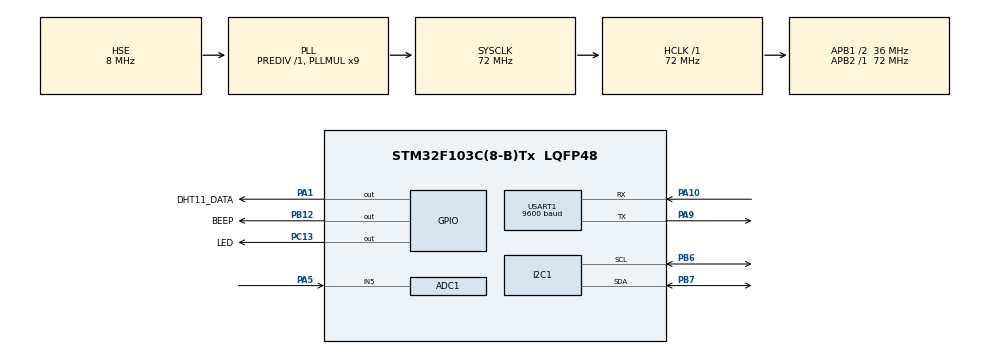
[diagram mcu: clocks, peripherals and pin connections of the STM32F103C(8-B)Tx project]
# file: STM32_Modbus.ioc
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ADC1.Channel-0\#ChannelRegularConversion=ADC_CHANNEL_5
ADC1.NbrOfConversionFlag=1
ADC1.Rank-0\#ChannelRegularConversion=1
ADC1.SamplingTime-0\#ChannelRegularConversion=ADC_SAMPLETIME_1CYCLE_5
ADC1.master=1
Dma.Request0=USART1_RX
Dma.Request1=USART1_TX
Dma.USART1_RX.0.Direction=DMA_PERIPH_TO_MEMORY
Dma.USART1_RX.0.Instance=DMA1_Channel5
Dma.USART1_RX.0.MemDataAlignment=DMA_MDATAALIGN_BYTE
Dma.USART1_RX.0.MemInc=DMA_MINC_ENABLE
Dma.USART1_RX.0.Mode=DMA_NORMAL
Dma.USART1_RX.0.PeriphDataAlignment=DMA_PDATAALIGN_BYTE
Dma.USART1_RX.0.PeriphInc=DMA_PINC_DISABLE
Dma.USART1_RX.0.Priority=DMA_PRIORITY_LOW
Dma.USART1_TX.1.Direction=DMA_MEMORY_TO_PERIPH
Dma.USART1_TX.1.Instance=DMA1_Channel4
Dma.USART1_TX.1.MemDataAlignment=DMA_MDATAALIGN_BYTE
Dma.USART1_TX.1.MemInc=DMA_MINC_ENABLE
Dma.USART1_TX.1.Mode=DMA_NORMAL
Dma.USART1_TX.1.PeriphDataAlignment=DMA_PDATAALIGN_BYTE
Dma.USART1_TX.1.PeriphInc=DMA_PINC_DISABLE
Dma.USART1_TX.1.Priority=DMA_PRIORITY_LOW
I2C1.I2C_Mode=I2C_Standard
Mcu.Family=STM32F1
Mcu.Name=STM32F103C(8-B)Tx
Mcu.Package=LQFP48
NVIC.DMA1_Channel4_IRQn=true\:0\:0\:false\:false\:true\:false\:true\:true
NVIC.DMA1_Channel5_IRQn=true\:0\:0\:false\:false\:true\:false\:true\:true
NVIC.PriorityGroup=NVIC_PRIORITYGROUP_4
NVIC.USART1_IRQn=true\:0\:0\:false\:false\:true\:true\:true\:true
PA1.GPIO_Label=DHT11_DATA
PA1.Signal=GPIO_Output
PA10.Mode=Asynchronous
PA10.Signal=USART1_RX
PA13.Mode=Serial_Wire
PA13.Signal=SYS_JTMS-SWDIO
PA14.Mode=Serial_Wire
PA14.Signal=SYS_JTCK-SWCLK
PA5.Signal=ADCx_IN5
PA9.Mode=Asynchronous
PA9.Signal=USART1_TX
PB12.GPIO_Label=BEEP
PB12.PinState=GPIO_PIN_SET
PB12.Signal=GPIO_Output
PB6.Mode=I2C
PB6.Signal=I2C1_SCL
PB7.Mode=I2C
PB7.Signal=I2C1_SDA
PC13-TAMPER-RTC.GPIO_Label=LED
PC13-TAMPER-RTC.PinState=GPIO_PIN_SET
PC13-TAMPER-RTC.Signal=GPIO_Output
PC14-OSC32_IN.Mode=LSE-External-Oscillator
PC14-OSC32_IN.Signal=RCC_OSC32_IN
PC15-OSC32_OUT.Mode=LSE-External-Oscillator
PC15-OSC32_OUT.Signal=RCC_OSC32_OUT
PD0-OSC_IN.Mode=HSE-External-Oscillator
PD0-OSC_IN.Signal=RCC_OSC_IN
PD1-OSC_OUT.Mode=HSE-External-Oscillator
PD1-OSC_OUT.Signal=RCC_OSC_OUT
ProjectManager.HeapSize=0x200
ProjectManager.StackSize=0x400
ProjectManager.TargetToolchain=MDK-ARM V5.32
RCC.ADCPresc=RCC_ADCPCLK2_DIV6
RCC.AHBFreq_Value=72000000
RCC.APB1CLKDivider=RCC_HCLK_DIV2
RCC.APB1Freq_Value=36000000
RCC.APB1TimFreq_Value=72000000
RCC.APB2Freq_Value=72000000
RCC.APB2TimFreq_Value=72000000
RCC.HCLKFreq_Value=72000000
RCC.PLLMUL=RCC_PLL_MUL9
RCC.PLLSourceVirtual=RCC_PLLSOURCE_HSE
RCC.SYSCLKFreq_VALUE=72000000
RCC.SYSCLKSource=RCC_SYSCLKSOURCE_PLLCLK
RCC.USBFreq_Value=72000000
SH.ADCx_IN5.0=ADC1_IN5,IN5
TIM3.Prescaler=71
USART1.BaudRate=9600
USART1.VirtualMode=VM_ASYNC
VP_TIM3_VS_ClockSourceINT.Mode=Internal
board=custom

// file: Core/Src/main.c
/* USER CODE BEGIN Header */
/**
  ******************************************************************************
  * @file           : main.c
  * @brief          : Main program body
  ******************************************************************************
  * @attention
  *
  * Copyright (c) 2026 STMicroelectronics.
  * All rights reserved.
  *
  * This software is licensed under terms that can be found in the LICENSE file
  * in the root directory of this software component.
  * If no LICENSE file comes with this software, it is provided AS-IS.
  *
  ******************************************************************************
  */
/* USER CODE END Header */
#include "main.h"
#include "adc.h"
#include "dma.h"
#include "i2c.h"
#include "tim.h"
#include "usart.h"
#include "gpio.h"

/* USER CODE BEGIN Includes */
#include "oled.h"
#include "font.h"
#include <stdio.h>
#include <string.h>
#include "dht11.h"
#include "modbus.h"
#include "CRC.h"
/* USER CODE END Includes */

/* USER CODE BEGIN PV */
volatile uint8_t Modbus_Frame_Flag = 0;
volatile uint16_t Modbus_RX_Length = 0;

DHT11_Data_TypeDef DHT11_Data;

uint16_t g_adc_value = 0;
float g_adc_voltage = 0.0f;

uint32_t g_last_sample_tick = 0;
uint32_t g_last_oled_tick = 0;
/* USER CODE END PV */

void SystemClock_Config(void);
/* USER CODE BEGIN PFP */
void Device_Data_Update(void);
void Device_Control_Update(void);
void Device_Alarm_Update(void);
void OLED_Display_Update(void);
/* USER CODE END PFP */

/* USER CODE BEGIN 0 */
void HAL_UARTEx_RxEventCallback(UART_HandleTypeDef *huart, uint16_t Size)
{
    if (huart->Instance == USART1)
    {
        if (Size > 0)
        {
            Modbus_RX_Length = Size;
            Modbus_Frame_Flag = 1;
        }
    }
}

void Device_Data_Update(void)
{
    HAL_ADC_Start(&hadc1);
    HAL_ADC_PollForConversion(&hadc1, HAL_MAX_DELAY);
    g_adc_value = HAL_ADC_GetValue(&hadc1);
    g_adc_voltage = (g_adc_value / 4095.0f) * 3.3f;

    Modbus_Register[REG_ADC_RAW] = g_adc_value;
    Modbus_Register[REG_ADC_VOLTAGE] = (uint16_t)(g_adc_voltage * 100);

    if (DHT11_Read_TempAndHumidity(&DHT11_Data) == 0)
    {
        Modbus_Register[REG_TEMP_VALUE] = (uint16_t)(DHT11_Data.temperature * 10);
        Modbus_Register[REG_HUMI_VALUE] = (uint16_t)(DHT11_Data.humidity * 10);
        Modbus_Register[REG_SENSOR_STATE] = 0;
    }
    else
    {
        Modbus_Register[REG_TEMP_VALUE] = 0;
        Modbus_Register[REG_HUMI_VALUE] = 0;
        Modbus_Register[REG_SENSOR_STATE] = 1;
    }
}

void Device_Control_Update(void)
{
    //LED
    if (Modbus_Register[REG_LED_CTRL])
        HAL_GPIO_WritePin(LED_GPIO_Port, LED_Pin, GPIO_PIN_RESET);
    else
        HAL_GPIO_WritePin(LED_GPIO_Port, LED_Pin, GPIO_PIN_SET);

    //BEEP
    if (Modbus_Register[REG_BEEP_CTRL])
        HAL_GPIO_WritePin(BEEP_GPIO_Port, BEEP_Pin, GPIO_PIN_RESET);
    else
        HAL_GPIO_WritePin(BEEP_GPIO_Port, BEEP_Pin, GPIO_PIN_SET);
}

void Device_Alarm_Update(void)
{
    Modbus_Register[REG_ALARM_FLAG] = 0;

    if (Modbus_Register[REG_TEMP_VALUE] > Modbus_Register[REG_TEMP_ALARM_HIGH])
        Modbus_Register[REG_ALARM_FLAG] |= 0x0001;

    if (Modbus_Register[REG_HUMI_VALUE] > Modbus_Register[REG_HUMI_ALARM_HIGH])
        Modbus_Register[REG_ALARM_FLAG] |= 0x0002;
}

void OLED_Display_Update(void)
{
    char buf[24];

    OLED_NewFrame();

    sprintf(buf, "T:%d.%dC",
            Modbus_Register[REG_TEMP_VALUE] / 10,
            Modbus_Register[REG_TEMP_VALUE] % 10);
    OLED_PrintString(0, 0, buf, &font16x16, OLED_COLOR_NORMAL);

    sprintf(buf, "H:%d.%d%%",
            Modbus_Register[REG_HUMI_VALUE] / 10,
            Modbus_Register[REG_HUMI_VALUE] % 10);
    OLED_PrintString(0, 16, buf, &font16x16, OLED_COLOR_NORMAL);

    sprintf(buf, "ADC:%4d", Modbus_Register[REG_ADC_RAW]);
    OLED_PrintString(0, 32, buf, &font16x16, OLED_COLOR_NORMAL);

    sprintf(buf, "L:%d B:%d",
            Modbus_Register[REG_LED_CTRL],
            Modbus_Register[REG_BEEP_CTRL]);
    OLED_PrintString(0, 48, buf, &font16x16, OLED_COLOR_NORMAL);

    OLED_ShowFrame();
}
/* USER CODE END 0 */

int main(void)
{

  /* MCU Configuration--------------------------------------------------------*/

  /* Reset of all peripherals, Initializes the Flash interface and the Systick. */
  HAL_Init();

  /* Configure the system clock */
  SystemClock_Config();

  /* Initialize all configured peripherals */
  MX_GPIO_Init();
  MX_DMA_Init();
  MX_I2C1_Init();
  MX_ADC1_Init();
  MX_USART1_UART_Init();
  MX_TIM3_Init();
  /* USER CODE BEGIN 2 */
  HAL_TIM_Base_Start(&htim3);                // DHT11微秒延时用
  HAL_ADCEx_Calibration_Start(&hadc1);       // ADC校准
  HAL_Delay(50);
  OLED_Init();
  Modbus_Register_Init();
  HAL_UARTEx_ReceiveToIdle_DMA(&huart1, Modbus_RX_Buffer, sizeof(Modbus_RX_Buffer));
__HAL_DMA_DISABLE_IT(huart1.hdmarx, DMA_IT_HT);
  /* USER CODE END 2 */

  /* Infinite loop */
  /* USER CODE BEGIN WHILE */
  while (1)
  {
    if (HAL_GetTick() - g_last_sample_tick >= 1000)
    {
        g_last_sample_tick = HAL_GetTick();

         Device_Data_Update();
         Device_Alarm_Update();
        Device_Control_Update();
    }

    if (HAL_GetTick() - g_last_oled_tick >= 500)
    {
        g_last_oled_tick = HAL_GetTick();
        OLED_Display_Update();
    }

    if (Modbus_Frame_Flag)
    {
        Modbus_Frame_Flag = 0;

        if (Modbus_Server() == 1)
            Modbus_Register[REG_COMM_STATE] = 0;
        else
            Modbus_Register[REG_COMM_STATE] = 1;

        memset(Modbus_RX_Buffer, 0, sizeof(Modbus_RX_Buffer));
        Modbus_RX_Length = 0;

        HAL_UARTEx_ReceiveToIdle_DMA(&huart1, Modbus_RX_Buffer, sizeof(Modbus_RX_Buffer));
      __HAL_DMA_DISABLE_IT(huart1.hdmarx, DMA_IT_HT);
    }
    /* USER CODE END WHILE */

  }
}

void SystemClock_Config(void)
{
  RCC_OscInitTypeDef RCC_OscInitStruct = {0};
  RCC_ClkInitTypeDef RCC_ClkInitStruct = {0};
  RCC_PeriphCLKInitTypeDef PeriphClkInit = {0};

  /** Initializes the RCC Oscillators according to the specified parameters
  * in the RCC_OscInitTypeDef structure.
  */
  RCC_OscInitStruct.OscillatorType = RCC_OSCILLATORTYPE_HSE;
  RCC_OscInitStruct.HSEState = RCC_HSE_ON;
  RCC_OscInitStruct.HSEPredivValue = RCC_HSE_PREDIV_DIV1;
  RCC_OscInitStruct.HSIState = RCC_HSI_ON;
  RCC_OscInitStruct.PLL.PLLState = RCC_PLL_ON;
  RCC_OscInitStruct.PLL.PLLSource = RCC_PLLSOURCE_HSE;
  RCC_OscInitStruct.PLL.PLLMUL = RCC_PLL_MUL9;
  if (HAL_RCC_OscConfig(&RCC_OscInitStruct) != HAL_OK)
  {
    Error_Handler();
  }

  /** Initializes the CPU, AHB and APB buses clocks
  */
  RCC_ClkInitStruct.ClockType = RCC_CLOCKTYPE_HCLK|RCC_CLOCKTYPE_SYSCLK
                              |RCC_CLOCKTYPE_PCLK1|RCC_CLOCKTYPE_PCLK2;
  RCC_ClkInitStruct.SYSCLKSource = RCC_SYSCLKSOURCE_PLLCLK;
  RCC_ClkInitStruct.AHBCLKDivider = RCC_SYSCLK_DIV1;
  RCC_ClkInitStruct.APB1CLKDivider = RCC_HCLK_DIV2;
  RCC_ClkInitStruct.APB2CLKDivider = RCC_HCLK_DIV1;

  if (HAL_RCC_ClockConfig(&RCC_ClkInitStruct, FLASH_LATENCY_2) != HAL_OK)
  {
    Error_Handler();
  }
  PeriphClkInit.PeriphClockSelection = RCC_PERIPHCLK_ADC;
  PeriphClkInit.AdcClockSelection = RCC_ADCPCLK2_DIV6;
  if (HAL_RCCEx_PeriphCLKConfig(&PeriphClkInit) != HAL_OK)
  {
    Error_Handler();
  }
}

void Error_Handler(void)
{
  __disable_irq();
  while (1)
  {
  }
}
